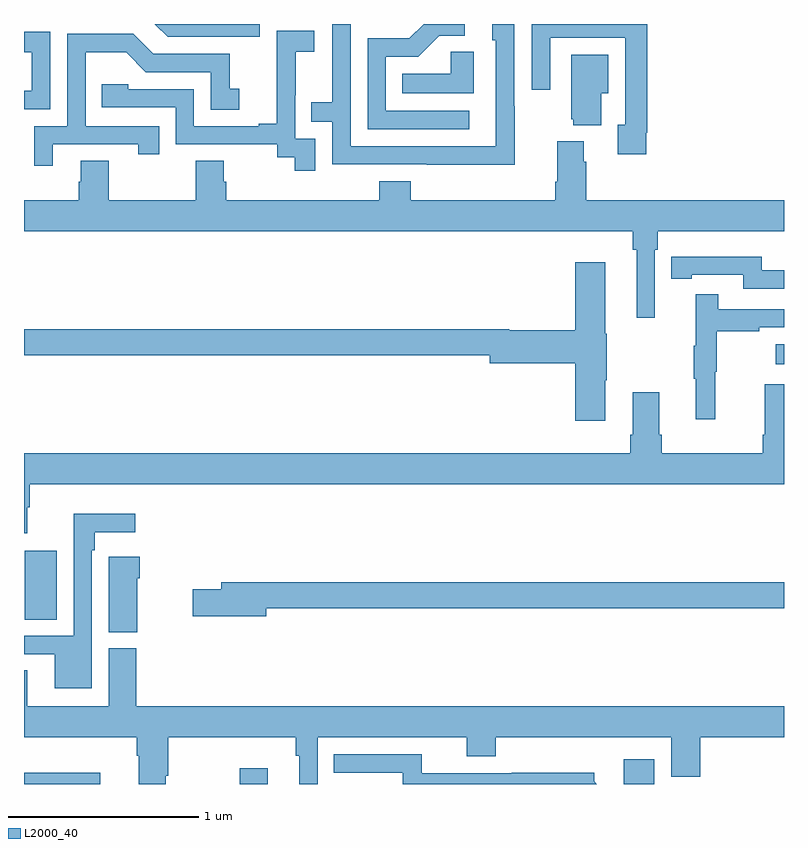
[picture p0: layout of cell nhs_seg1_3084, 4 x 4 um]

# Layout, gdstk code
import gdstk
lib = gdstk.Library(unit=1e-6, precision=1e-09)
def R(c, l, rs):  # rectangles x0, y0, x1, y1
    for r in rs: c.add(gdstk.rectangle(r[:2], r[2:], *l))
def P(c, l, *ps):  # polygons
    for p in ps: c.add(gdstk.Polygon(p, *l))
L2000_40 = (2000, 40)

nhs_seg1_3084 = lib.new_cell('nhs_seg1_3084')
R(nhs_seg1_3084, L2000_40, [(279,506.199,279.401,506.258), (280.136,506.199,280.282,506.281), (282.157,506.199,282.318,506.329), (279.005,507.064,279.172,507.427), (282.957,508.409,283,508.513)])
P(nhs_seg1_3084, L2000_40, [(281.583,509.765),(281.58,509.765),(281.58,510.199),(281.465,510.199),(281.465,510.114),(281.484,510.114),(281.484,509.556),(280.719,509.556),(280.719,510.199),(280.623,510.199),(280.623,509.786),(280.513,509.786),(280.513,509.685),(280.623,509.685),(280.623,509.46),(281.119,509.46),(281.119,509.459),(281.583,509.459)],
  [(281.344,509.742),(280.905,509.742),(280.905,510.027),(281.074,510.027),(281.185,510.138),(281.32,510.138),(281.32,510.199),(281.104,510.199),(281.028,510.123),(280.809,510.123),(280.809,509.646),(281.344,509.646)],
  [(282.274,509.626),(282.281,509.626),(282.281,510.199),(281.673,510.199),(281.673,509.853),(281.769,509.853),(281.769,510.126),(282.165,510.126),(282.165,509.67),(282.125,509.67),(282.125,509.514),(282.274,509.514)],
  [(280.242,510.199),(279.689,510.199),(279.756,510.132),(280.242,510.132)],
  [(280.533,509.595),(280.428,509.595),(280.428,509.825),(280.43,509.825),(280.43,510.053),(280.528,510.053),(280.528,510.163),(280.33,510.163),(280.33,509.957),(280.331,509.957),(280.331,509.674),(280.235,509.674),(280.235,509.661),(279.894,509.661),(279.894,509.856),(279.549,509.856),(279.549,509.883),(279.409,509.883),(279.409,509.76),(279.798,509.76),(279.798,509.565),(280.332,509.565),(280.332,509.497),(280.425,509.497),(280.425,509.427),(280.533,509.427)],
  [(279.138,510.157),(279,510.157),(279,510.051),(279.041,510.051),(279.041,509.847),(279,509.847),(279,509.751),(279.138,509.751)],
  [(279.151,509.565),(279.602,509.565),(279.602,509.514),(279.713,509.514),(279.713,509.661),(279.324,509.661),(279.324,510.05),(279.538,510.05),(279.642,509.946),(279.984,509.946),(279.984,509.748),(280.132,509.748),(280.132,509.857),(280.083,509.857),(280.083,510.042),(279.679,510.042),(279.574,510.147),(279.228,510.147),(279.228,509.661),(279.054,509.661),(279.054,509.454),(279.151,509.454)],
  [(281.368,510.053),(281.247,510.053),(281.247,509.938),(280.99,509.938),(280.99,509.834),(281.368,509.834)],
  [(282.037,509.834),(282.076,509.834),(282.076,510.037),(281.879,510.037),(281.879,509.697),(281.891,509.697),(281.891,509.666),(282.037,509.666)],
  [(282.321,509.012),(282.335,509.012),(282.335,509.108),(283,509.108),(283,509.272),(281.96,509.272),(281.96,509.474),(281.947,509.474),(281.947,509.581),(281.807,509.581),(281.807,509.368),(281.795,509.368),(281.795,509.272),(281.036,509.272),(281.036,509.371),(280.871,509.371),(280.871,509.272),(280.064,509.272),(280.064,509.37),(280.051,509.37),(280.051,509.48),(279.904,509.48),(279.904,509.272),(279.447,509.272),(279.447,509.48),(279.299,509.48),(279.299,509.37),(279.287,509.37),(279.287,509.272),(279,509.272),(279,509.108),(282.205,509.108),(282.205,509.012),(282.224,509.012),(282.224,508.653),(282.321,508.653)],
  [(283,508.902),(282.882,508.902),(282.882,508.975),(282.514,508.975),(282.514,508.974),(282.406,508.974),(282.406,508.858),(282.514,508.858),(282.514,508.878),(282.786,508.878),(282.786,508.806),(283,508.806)],
  [(282.058,508.325),(282.066,508.325),(282.066,508.569),(282.058,508.569),(282.058,508.945),(281.9,508.945),(281.9,508.586),(281.554,508.586),(281.554,508.592),(279,508.592),(279,508.456),(281.45,508.456),(281.45,508.414),(281.9,508.414),(281.9,508.11),(282.058,508.11)],
  [(282.638,508.368),(282.646,508.368),(282.646,508.582),(282.869,508.582),(282.869,508.602),(283,508.602),(283,508.698),(282.653,508.698),(282.653,508.777),(282.536,508.777),(282.536,508.505),(282.525,508.505),(282.525,508.331),(282.536,508.331),(282.536,508.119),(282.638,508.119)],
  [(279.016,507.656),(279.029,507.656),(279.029,507.776),(283,507.776),(283,508.303),(282.899,508.303),(282.899,508.036),(282.887,508.036),(282.887,507.94),(282.356,507.94),(282.356,508.036),(282.343,508.036),(282.343,508.261),(282.203,508.261),(282.203,508.036),(282.191,508.036),(282.191,507.94),(279,507.94),(279,507.519),(279.016,507.519)],
  [(279.357,507.428),(279.373,507.428),(279.373,507.524),(279.586,507.524),(279.586,507.622),(279.261,507.622),(279.261,506.979),(279,506.979),(279,506.883),(279.161,506.883),(279.161,506.702),(279.357,506.702)],
  [(279.595,507.281),(279.608,507.281),(279.608,507.394),(279.447,507.394),(279.447,507.281),(279.446,507.281),(279.446,506.998),(279.595,506.998)],
  [(280.276,507.124),(283,507.124),(283,507.26),(280.037,507.26),(280.037,507.224),(279.888,507.224),(279.888,507.082),(280.276,507.082)],
  [(279.745,506.242),(279.758,506.242),(279.758,506.444),(280.429,506.444),(280.429,506.348),(280.448,506.348),(280.448,506.199),(280.545,506.199),(280.545,506.444),(281.33,506.444),(281.33,506.345),(281.483,506.345),(281.483,506.444),(282.407,506.444),(282.407,506.236),(282.56,506.236),(282.56,506.444),(283,506.444),(283,506.608),(279.59,506.608),(279.59,506.913),(279.446,506.913),(279.446,506.608),(279.016,506.608),(279.016,506.798),(279,506.798),(279,506.444),(279.593,506.444),(279.593,506.348),(279.605,506.348),(279.605,506.199),(279.745,506.199)],
  [(282,506.213),(282,506.258),(281.566,506.258),(281.566,506.256),(281.094,506.256),(281.094,506.355),(280.63,506.355),(280.63,506.259),(280.994,506.259),(280.994,506.199),(282.014,506.199)])

lib.write_gds('nhs_seg1_3084.gds')
